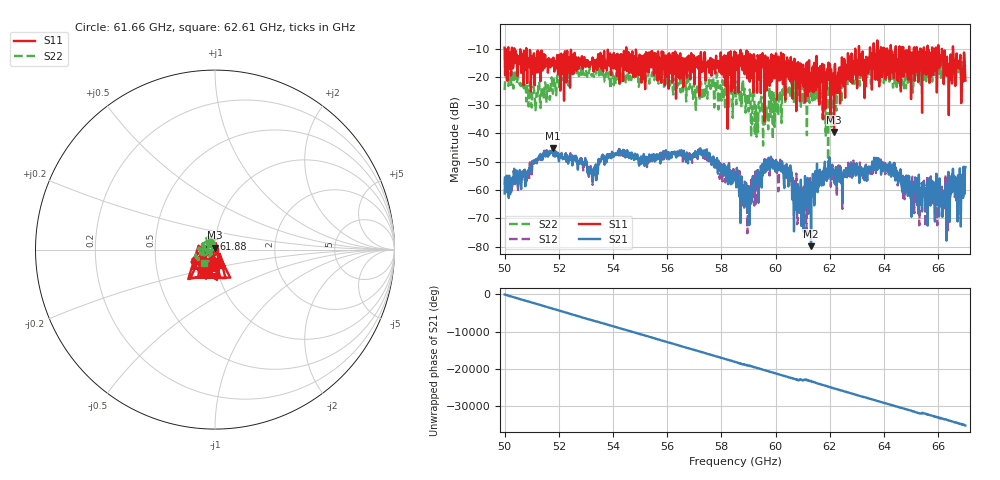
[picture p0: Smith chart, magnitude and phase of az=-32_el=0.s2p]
!Created with skrf (http://scikit-rf.org).
# GHz S RI R 50.0
!freq ReS11 ImS11 ReS21 ImS21 ReS12 ImS12 ReS22 ImS22
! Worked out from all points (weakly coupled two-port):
!   1001 points, 50 GHz to 67 GHz, reference 50 ohm
!   highest |S21| = -45.27 dB at 51.77 GHz (marker M1); lowest = -79.9 dB at 61.3 GHz (marker M2)
!   lowest |S11| = -39.5 dB at 62.16 GHz (marker M3), VSWR 1.02, Z = 50 + j1.06 ohm
!   |S11| at or under -10 dB: 50.8 GHz to 54.49 GHz (3.684 GHz wide, 7 % of centre); 54.49 GHz to 63.07 GHz (8.58 GHz wide, 14.6 % of centre); 66.01 GHz to 66.54 GHz (528.4 MHz wide, 0.797 % of centre) (the widest 3 of 29)
!   |S22| runs from -49.5 to -14.0 dB; largest |S21 - S12| = 0.0022
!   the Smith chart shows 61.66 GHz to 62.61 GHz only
!   S11 on the Smith chart (normalised r, x): 61.66 GHz: 0.97, -0.16; 61.88 GHz: 0.98, +0.12; 62.61 GHz: 0.87, -0.11
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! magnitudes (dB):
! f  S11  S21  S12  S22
! 50 GHz  -9.7  -61.3  -58.3  -24.7
! 51.07 GHz  -11.7  -50.3  -50.7  -23.7
! 51.77 GHz  -15.1  -45.3  -46.2  -24.7
! 52.84 GHz  -13.4  -50.6  -49.8  -19.3
! 55.68 GHz  -13.6  -48.7  -47.7  -22.4
! 57.24 GHz  -11.2  -45.9  -46.4  -21.8
! 58.5 GHz  -25.7  -56.5  -57.4  -24.1
! 58.96 GHz  -20.5  -58.6  -75.3  -27.3
! 59.32 GHz  -25.6  -57.3  -59.1  -32.6
! 59.79 GHz  -16.1  -51.0  -51.8  -25.9
! 60.49 GHz  -20.9  -57.1  -55.5  -24.4
! 60.88 GHz  -19.6  -68.1  -59.9  -24.8
! 61.3 GHz  -24.1  -79.9  -61.9  -25.2
! 61.34 GHz  -25.0  -60.1  -58.4  -25.9
! 61.66 GHz  -21.9  -53.4  -55.4  -26.8
! 61.88 GHz  -24.4  -54.2  -56.8  -23.3
! 62.16 GHz  -39.5  -53.9  -57.4  -28.1
! 62.61 GHz  -20.8  -52.7  -51.2  -20.5
! 64.18 GHz  -17.8  -54.6  -50.9  -18.4
! 65.03 GHz  -16.4  -60.8  -56.8  -21.2
! 66.22 GHz  -13.1  -61.5  -60.1  -14.3
! 67 GHz  -21.3  -51.9  -56.3  -15.8
